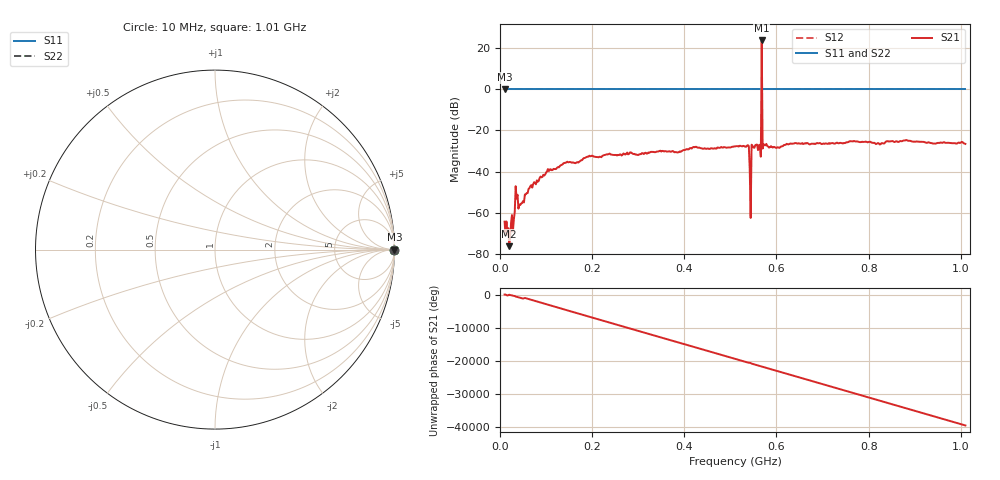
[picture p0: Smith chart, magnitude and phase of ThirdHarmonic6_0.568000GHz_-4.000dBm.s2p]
! 8/15/2025 6:11:56 PM
! C:\ANRITSUVNA\TEMP\TEMP.S2P
! CHANNEL.1
! TR.MEASUREMENT
! RAW.DATA
! RF.CORRECTION.OFF
! AVERAGING.OFF
! IF.BANDWIDTH: 5KHZ
! SWEEPTYPE:  FREQ.SWEEP(Linear)
! Reference Plane Port Info
! PORT:  PORT1  PORT2
! DISTANCE:  0  m  0  m
! TIME:  0  s  0  s
! PHASE.OFFSET:  0  deg.  0  deg.
! LOSS:  0  dB  0  dB
! REF.LOSS:  0  dB  0  dB
! REF.FREQ:  0  Hz  0  Hz
! Power Info
! POWER:  -20  dBm  -20  dBm
! EFF.POWER:  -20  dBm  -20  dBm
! SOURCE.ATTEN:  0  dB  0  dB
! TEST.ATTEN:  0  dB  0  dB
# GHZ S RI R 50.0
! FREQ.GHZ  S11RE  S11IM  S21RE  S21IM  S12RE  S12IM  S22RE  S22IM
!; PortSelection: Port_12
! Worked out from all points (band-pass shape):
!   501 points, 10 MHz to 1.01 GHz, reference 50 ohm
!   highest |S21| = 23.61 dB at 568 MHz (marker M1); lowest = -76.2 dB at 20 MHz (marker M2)
!   |S21| within 3 dB of the highest: 567.8936 MHz to 568.1143 MHz (220.7 kHz wide, 0.0389 % of centre)
!   lowest |S11| = 0.0 dB at 10 MHz (marker M3)
!   |S11| at or under -10 dB: nowhere
!   |S22| runs from 0.0 to 0.0 dB; largest |S21 - S12| = 14
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0.01  1 0  -0.000361 0.000491  1 0  1 0
0.02  1 0  2.54e-05 0.000153  1 0  1 0
0.038  1 0  -0.00169 0.00216  1 0  1 0
0.044  1 0  -0.00102 -0.00116  1 0  1 0
0.064  1 0  -0.00296 0.00263  1 0  1 0
0.106  1 0  -0.00757 -0.00698  1 0  1 0
0.178  1 0  -0.0185 -0.00372  1 0  1 0
0.344  1 0  0.0295 -0.00901  1 0  1 0
0.51  1 0  -0.036 0.019  1 0  1 0
0.536  1 0  -0.0422 -0.00455  1 0  1 0
0.54  1 0  0.037 0.0185  1 0  1 0
0.546  1 0  -0.0363 0.0263  1 0  1 0
0.548  1 0  0.0207 0.0365  1 0  1 0
0.55  1 0  0.0365 -0.0124  1 0  1 0
0.562  1 0  -0.0305 -0.0313  1 0  1 0
0.564  1 0  -0.0349 0.028  1 0  1 0
0.568  1 0  14.44 -4.606  1 0  1 0
0.572  1 0  -0.0459 0.00585  1 0  1 0
0.574  1 0  -0.00118 0.0438  1 0  1 0
0.678  1 0  -0.0278 -0.0383  1 0  1 0
0.844  1 0  0.0453 0.0282  1 0  1 0
1.01  1 0  -0.0468 -0.00223  1 0  1 0
